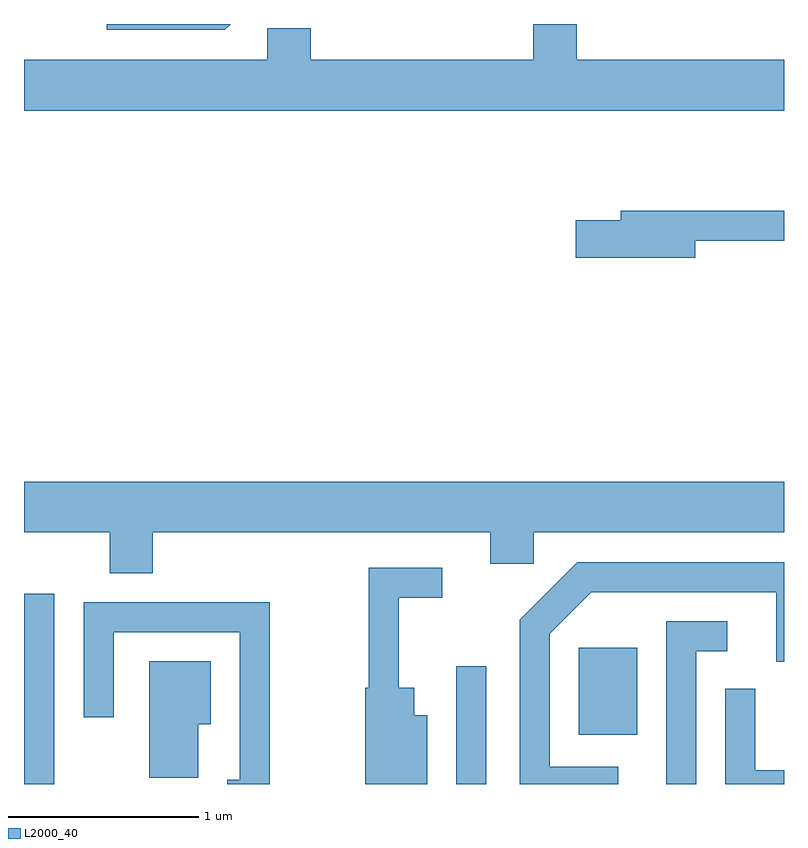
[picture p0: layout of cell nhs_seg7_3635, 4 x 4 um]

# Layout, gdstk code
import gdstk
lib = gdstk.Library(unit=1e-6, precision=1e-09)
def R(c, l, rs):  # rectangles x0, y0, x1, y1
    for r in rs: c.add(gdstk.rectangle(r[:2], r[2:], *l))
def P(c, l, *ps):  # polygons
    for p in ps: c.add(gdstk.Polygon(p, *l))
L2000_40 = (2000, 40)

nhs_seg7_3635 = lib.new_cell('nhs_seg7_3635')
R(nhs_seg7_3635, L2000_40, [(295.611,1786.252,295.769,1787.254), (297.886,1786.252,298.044,1786.873), (298.531,1786.511,298.839,1786.969)])
P(nhs_seg7_3635, L2000_40, [(299.611,1790.064),(298.519,1790.064),(298.519,1790.252),(298.291,1790.252),(298.291,1790.064),(297.119,1790.064),(297.119,1790.229),(296.891,1790.229),(296.891,1790.064),(295.611,1790.064),(295.611,1789.796),(299.611,1789.796)],
  [(296.698,1790.252),(296.046,1790.252),(296.046,1790.221),(296.667,1790.221)],
  [(299.144,1789.111),(299.611,1789.111),(299.611,1789.269),(298.751,1789.269),(298.751,1789.219),(298.516,1789.219),(298.516,1789.021),(299.144,1789.021)],
  [(295.611,1787.576),(296.061,1787.576),(296.061,1787.361),(296.289,1787.361),(296.289,1787.576),(298.066,1787.576),(298.066,1787.411),(298.294,1787.411),(298.294,1787.576),(299.611,1787.576),(299.611,1787.844),(295.611,1787.844)],
  [(298.738,1786.344),(298.379,1786.344),(298.379,1787.044),(298.597,1787.261),(299.571,1787.261),(299.571,1786.896),(299.611,1786.896),(299.611,1787.419),(298.524,1787.419),(298.221,1787.117),(298.221,1786.252),(298.738,1786.252)],
  [(297.734,1786.614),(297.664,1786.614),(297.664,1786.759),(297.584,1786.759),(297.584,1787.231),(297.813,1787.231),(297.813,1787.389),(297.426,1787.389),(297.426,1786.759),(297.406,1786.759),(297.406,1786.252),(297.734,1786.252)],
  [(296.904,1787.209),(295.926,1787.209),(295.926,1786.603),(296.084,1786.603),(296.084,1787.051),(296.746,1787.051),(296.746,1786.274),(296.681,1786.274),(296.681,1786.252),(296.904,1786.252)],
  [(299.149,1786.951),(299.313,1786.951),(299.313,1787.109),(298.991,1787.109),(298.991,1786.252),(299.149,1786.252)],
  [(296.529,1786.566),(296.594,1786.566),(296.594,1786.899),(296.271,1786.899),(296.271,1786.286),(296.529,1786.286)],
  [(299.611,1786.324),(299.459,1786.324),(299.459,1786.753),(299.301,1786.753),(299.301,1786.252),(299.611,1786.252)])

lib.write_gds('nhs_seg7_3635.gds')
